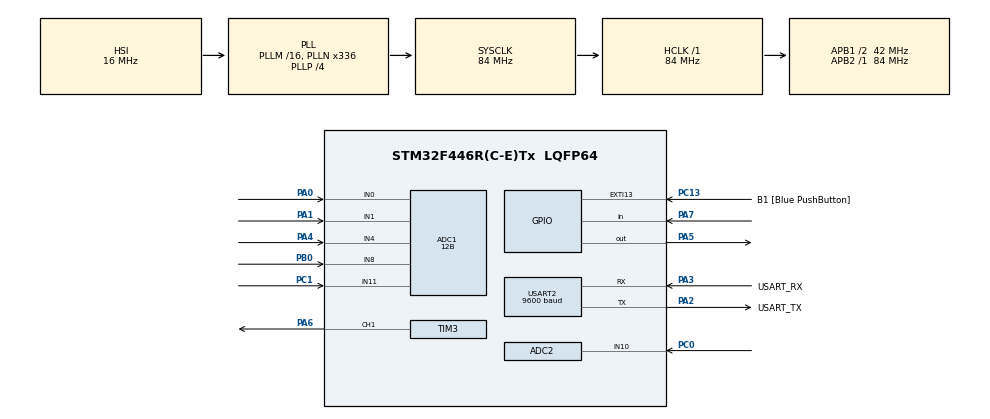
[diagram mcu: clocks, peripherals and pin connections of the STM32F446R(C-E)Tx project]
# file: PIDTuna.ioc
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ADC1.Channel-0\#ChannelRegularConversion=ADC_CHANNEL_0
ADC1.Channel-1\#ChannelRegularConversion=ADC_CHANNEL_1
ADC1.Channel-2\#ChannelRegularConversion=ADC_CHANNEL_4
ADC1.ContinuousConvMode=DISABLE
ADC1.DMAContinuousRequests=ENABLE
ADC1.EOCSelection=ADC_EOC_SEQ_CONV
ADC1.ExternalTrigConv=ADC_EXTERNALTRIGCONV_T2_TRGO
ADC1.InjNumberOfConversion=0
ADC1.NbrOfConversion=3
ADC1.NbrOfConversionFlag=1
ADC1.Rank-0\#ChannelRegularConversion=1
ADC1.Rank-1\#ChannelRegularConversion=2
ADC1.Rank-2\#ChannelRegularConversion=3
ADC1.Resolution=ADC_RESOLUTION_12B
ADC1.SamplingTime-0\#ChannelRegularConversion=ADC_SAMPLETIME_56CYCLES
ADC1.SamplingTime-1\#ChannelRegularConversion=ADC_SAMPLETIME_56CYCLES
ADC1.SamplingTime-2\#ChannelRegularConversion=ADC_SAMPLETIME_56CYCLES
ADC1.ScanConvMode=ENABLE
ADC1.master=1
ADC2.Channel-13\#ChannelRegularConversion=ADC_CHANNEL_10
ADC2.ContinuousConvMode=ENABLE
ADC2.EOCSelection=ADC_EOC_SEQ_CONV
ADC2.ExternalTrigConv=ADC_SOFTWARE_START
ADC2.NbrOfConversionFlag=1
ADC2.Rank-13\#ChannelRegularConversion=1
ADC2.SamplingTime-13\#ChannelRegularConversion=ADC_SAMPLETIME_3CYCLES
Dma.ADC1.0.Direction=DMA_PERIPH_TO_MEMORY
Dma.ADC1.0.FIFOMode=DMA_FIFOMODE_DISABLE
Dma.ADC1.0.Instance=DMA2_Stream0
Dma.ADC1.0.MemDataAlignment=DMA_MDATAALIGN_WORD
Dma.ADC1.0.MemInc=DMA_MINC_ENABLE
Dma.ADC1.0.Mode=DMA_CIRCULAR
Dma.ADC1.0.PeriphDataAlignment=DMA_PDATAALIGN_WORD
Dma.ADC1.0.PeriphInc=DMA_PINC_DISABLE
Dma.ADC1.0.Priority=DMA_PRIORITY_HIGH
Dma.Request0=ADC1
FREERTOS.Tasks01=defaultTask,-3,128,StartDefaultTask,Default,NULL,Dynamic,NULL,NULL;ADCRead,0,128,ADCReadStart,Default,NULL,Dynamic,NULL,NULL;StartSwitch,0,128,StartStartSwitch,Default,NULL,Dynamic,NULL,NULL;PIDLoop,0,128,PIDLoopStart,Default,NULL,Dynamic,NULL,NULL
Mcu.Family=STM32F4
Mcu.Name=STM32F446R(C-E)Tx
Mcu.Package=LQFP64
NVIC.ADC_IRQn=true\:5\:0\:true\:false\:true\:true\:true\:true\:true
NVIC.DMA2_Stream0_IRQn=true\:5\:0\:false\:false\:true\:true\:false\:true\:true
NVIC.EXTI15_10_IRQn=true\:5\:0\:false\:false\:true\:true\:true\:true\:true
NVIC.PriorityGroup=NVIC_PRIORITYGROUP_4
NVIC.TIM1_UP_TIM10_IRQn=true\:15\:0\:false\:false\:true\:false\:false\:true\:true
NVIC.TimeBase=TIM1_UP_TIM10_IRQn
NVIC.TimeBaseIP=TIM1
PA0-WKUP.Signal=ADCx_IN0
PA1.Signal=ADCx_IN1
PA13.GPIO_Label=TMS
PA13.Mode=Trace_Asynchronous_SW
PA13.Signal=SYS_JTMS-SWDIO
PA14.GPIO_Label=TCK
PA14.Mode=Trace_Asynchronous_SW
PA14.Signal=SYS_JTCK-SWCLK
PA2.GPIO_Label=USART_TX
PA2.Mode=Asynchronous
PA2.Signal=USART2_TX
PA3.GPIO_Label=USART_RX
PA3.Mode=Asynchronous
PA3.Signal=USART2_RX
PA4.Signal=ADCx_IN4
PA5.Signal=GPIO_Output
PA6.Signal=S_TIM3_CH1
PA7.GPIO_PuPd=GPIO_PULLUP
PA7.Signal=GPIO_Input
PB0.Signal=ADCx_IN8
PB3.GPIO_Label=SWO
PB3.Mode=Trace_Asynchronous_SW
PB3.Signal=SYS_JTDO-SWO
PC0.Signal=ADCx_IN10
PC1.Signal=ADCx_IN11
PC13.GPIO_Label=B1 [Blue PushButton]
PC13.GPIO_ModeDefaultEXTI=GPIO_MODE_IT_FALLING
PC13.Signal=GPXTI13
PC14-OSC32_IN.Mode=LSE-External-Oscillator
PC14-OSC32_IN.Signal=RCC_OSC32_IN
PC15-OSC32_OUT.Mode=LSE-External-Oscillator
PC15-OSC32_OUT.Signal=RCC_OSC32_OUT
PH0-OSC_IN.Mode=HSE-External-Oscillator
PH0-OSC_IN.Signal=RCC_OSC_IN
PH1-OSC_OUT.Mode=HSE-External-Oscillator
PH1-OSC_OUT.Signal=RCC_OSC_OUT
ProjectManager.HeapSize=0x200
ProjectManager.StackSize=0x400
ProjectManager.TargetToolchain=STM32CubeIDE
RCC.48MHZClocksFreq_Value=84000000
RCC.AHBFreq_Value=84000000
RCC.APB1CLKDivider=RCC_HCLK_DIV2
RCC.APB1Freq_Value=42000000
RCC.APB1TimFreq_Value=84000000
RCC.APB2Freq_Value=84000000
RCC.APB2TimFreq_Value=84000000
RCC.CortexFreq_Value=84000000
RCC.FLatency-AdvancedSettings=FLASH_LATENCY_2
RCC.HCLKFreq_Value=84000000
RCC.HSE_VALUE=8000000
RCC.HSI_VALUE=16000000
RCC.PLLN=336
RCC.PLLP=RCC_PLLP_DIV4
RCC.SYSCLKFreq_VALUE=84000000
RCC.SYSCLKSource=RCC_SYSCLKSOURCE_PLLCLK
RCC.USBFreq_Value=168000000
RCC.VCOOutputFreq_Value=336000000
SH.ADCx_IN0.0=ADC1_IN0,IN0
SH.ADCx_IN1.0=ADC1_IN1,IN1
SH.ADCx_IN10.0=ADC2_IN10,IN10
SH.ADCx_IN11.0=ADC1_IN11,IN11
SH.ADCx_IN4.0=ADC1_IN4,IN4
SH.ADCx_IN8.0=ADC1_IN8,IN8
SH.S_TIM3_CH1.0=TIM3_CH1,PWM Generation1 CH1
TIM2.AutoReloadPreload=TIM_AUTORELOAD_PRELOAD_ENABLE
TIM2.ClockDivision=TIM_CLOCKDIVISION_DIV1
TIM2.Period=1000
TIM2.Prescaler=8400-1
TIM2.TIM_MasterOutputTrigger=TIM_TRGO_UPDATE
TIM3.Channel-PWM\ Generation1\ CH1=TIM_CHANNEL_1
TIM3.Period=8400-1
TIM3.Prescaler=200-1
USART2.BaudRate=9600
USART2.VirtualMode=VM_ASYNC
VP_FREERTOS_VS_CMSIS_V1.Mode=CMSIS_V1
VP_SYS_VS_tim1.Mode=TIM1
VP_TIM2_VS_ClockSourceINT.Mode=Internal
VP_TIM3_VS_ClockSourceINT.Mode=Internal
board=NUCLEO-F446RE

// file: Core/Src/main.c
/* USER CODE BEGIN Header */
/**
  ******************************************************************************
  * @file           : main.c
  * @brief          : Main program body
  ******************************************************************************
  * @attention
  *
  * Copyright (c) 2025 STMicroelectronics.
  * All rights reserved.
  *
  * This software is licensed under terms that can be found in the LICENSE file
  * in the root directory of this software component.
  * If no LICENSE file comes with this software, it is provided AS-IS.
  *
  ******************************************************************************
  */
/* USER CODE END Header */
#include "main.h"
#include "cmsis_os.h"

/* USER CODE BEGIN Includes */

#include "FreeRTOS.h"
#include "task.h"
#include "timers.h"
#include "queue.h"
#include "semphr.h"
#include "event_groups.h"

#include "string.h"
#include "stdio.h"
/* USER CODE END Includes */

ADC_HandleTypeDef hadc1;
ADC_HandleTypeDef hadc2;
DMA_HandleTypeDef hdma_adc1;

TIM_HandleTypeDef htim2;
TIM_HandleTypeDef htim3;

UART_HandleTypeDef huart2;

osThreadId defaultTaskHandle;
osThreadId ADCReadHandle;
osThreadId StartSwitchHandle;
osThreadId PIDLoopHandle;
/* USER CODE BEGIN PV */

double Kp;
double Ki;
double Kd;
char buff[100];

int32_t output = 0;
int32_t setPoint = 75;

uint32_t adc_input[3];

uint8_t switchFlag = 0;

/* USER CODE END PV */

void SystemClock_Config(void);
static void MX_GPIO_Init(void);
static void MX_DMA_Init(void);
static void MX_USART2_UART_Init(void);
static void MX_ADC1_Init(void);
static void MX_TIM2_Init(void);
static void MX_ADC2_Init(void);
static void MX_TIM3_Init(void);
void StartDefaultTask(void const * argument);
void ADCReadStart(void const * argument);
void StartStartSwitch(void const * argument);
void PIDLoopStart(void const * argument);

/* USER CODE BEGIN PFP */

double map(uint16_t input, uint16_t min, uint32_t max, double map_min, double map_max) {
	  double percentage = (input - min)/(double)(max - min);
	  double result = percentage*(map_max - map_min) + map_min;
	  return result;
}

uint32_t read_servo_feedback(void) {
    HAL_ADC_Start(&hadc2);
    HAL_ADC_PollForConversion(&hadc2, HAL_MAX_DELAY);
    uint32_t adc_val = HAL_ADC_GetValue(&hadc2);
    HAL_ADC_Stop(&hadc2);
    return adc_val;
}

uint16_t adc_to_angle(uint32_t adc_val, uint32_t min_adc, uint32_t max_adc) {
    return ((adc_val - min_adc) * 120.0f) / (max_adc - min_adc);
}

static inline uint32_t us_to_counts(uint32_t us) {
    // 420 kHz timer: counts = us * 0.42
    return (uint32_t)((us * 420000U) / 1000000U);
}

void set_servo_angle(TIM_HandleTypeDef *htim, uint32_t channel, double angle) {
    if (angle < 0.0f) angle = 0.0f;
    if (angle > 180.0f) angle = 180.0f;

    //0.9–2.0 ms pulse range
    const uint32_t min_us = 905;
    const uint32_t max_us = 2020;
    double pulse_us = min_us + (angle / 180.0f) * (max_us - min_us);
    uint32_t ccr = us_to_counts((uint32_t)pulse_us);

    __HAL_TIM_SET_COMPARE(htim, channel, ccr);
}
/* USER CODE END PFP */

/* USER CODE BEGIN 0 */
SemaphoreHandle_t SimpleMutex;
void UART_SEND(UART_HandleTypeDef *huart, char buffer[]) {
	xSemaphoreTake(SimpleMutex, portMAX_DELAY);
	HAL_UART_Transmit(huart, (uint8_t*) buffer, strlen(buffer), HAL_MAX_DELAY);
	xSemaphoreGive(SimpleMutex);
}
/* USER CODE END 0 */

int main(void)
{

  /* MCU Configuration--------------------------------------------------------*/

  /* Reset of all peripherals, Initializes the Flash interface and the Systick. */
  HAL_Init();

  /* Configure the system clock */
  SystemClock_Config();

  /* Initialize all configured peripherals */
  MX_GPIO_Init();
  MX_DMA_Init();
  MX_USART2_UART_Init();
  MX_ADC1_Init();
  MX_TIM2_Init();
  MX_ADC2_Init();
  MX_TIM3_Init();
  /* USER CODE BEGIN 2 */

  SimpleMutex = xSemaphoreCreateMutex();

  if(SimpleMutex != NULL) {
	 char *str = "Mutex Created\r\n\n";
	 HAL_UART_Transmit(&huart2, (uint8_t *)str, strlen(str), 1000);
 }
  HAL_TIM_PWM_Start(&htim3, TIM_CHANNEL_1);
  HAL_ADC_Start_DMA(&hadc1, (uint32_t*)adc_input, 3);
  HAL_TIM_Base_Start(&htim2);

  xSemaphoreGive(SimpleMutex);

  /* USER CODE END 2 */

  /* Create the thread(s) */
  /* definition and creation of defaultTask */
  osThreadDef(defaultTask, StartDefaultTask, osPriorityIdle, 0, 128);
  defaultTaskHandle = osThreadCreate(osThread(defaultTask), NULL);

  /* definition and creation of ADCRead */
  osThreadDef(ADCRead, ADCReadStart, osPriorityNormal, 0, 128);
  ADCReadHandle = osThreadCreate(osThread(ADCRead), NULL);

  /* definition and creation of StartSwitch */
  osThreadDef(StartSwitch, StartStartSwitch, osPriorityNormal, 0, 128);
  StartSwitchHandle = osThreadCreate(osThread(StartSwitch), NULL);

  /* definition and creation of PIDLoop */
  osThreadDef(PIDLoop, PIDLoopStart, osPriorityNormal, 0, 128);
  PIDLoopHandle = osThreadCreate(osThread(PIDLoop), NULL);

  /* Start scheduler */
  osKernelStart();

  /* We should never get here as control is now taken by the scheduler */

  /* Infinite loop */
  while (1)
  {

  }
}

void SystemClock_Config(void)
{
  RCC_OscInitTypeDef RCC_OscInitStruct = {0};
  RCC_ClkInitTypeDef RCC_ClkInitStruct = {0};

  /** Configure the main internal regulator output voltage
  */
  __HAL_RCC_PWR_CLK_ENABLE();
  __HAL_PWR_VOLTAGESCALING_CONFIG(PWR_REGULATOR_VOLTAGE_SCALE3);

  /** Initializes the RCC Oscillators according to the specified parameters
  * in the RCC_OscInitTypeDef structure.
  */
  RCC_OscInitStruct.OscillatorType = RCC_OSCILLATORTYPE_HSI;
  RCC_OscInitStruct.HSIState = RCC_HSI_ON;
  RCC_OscInitStruct.HSICalibrationValue = RCC_HSICALIBRATION_DEFAULT;
  RCC_OscInitStruct.PLL.PLLState = RCC_PLL_ON;
  RCC_OscInitStruct.PLL.PLLSource = RCC_PLLSOURCE_HSI;
  RCC_OscInitStruct.PLL.PLLM = 16;
  RCC_OscInitStruct.PLL.PLLN = 336;
  RCC_OscInitStruct.PLL.PLLP = RCC_PLLP_DIV4;
  RCC_OscInitStruct.PLL.PLLQ = 2;
  RCC_OscInitStruct.PLL.PLLR = 2;
  if (HAL_RCC_OscConfig(&RCC_OscInitStruct) != HAL_OK)
  {
    Error_Handler();
  }

  /** Initializes the CPU, AHB and APB buses clocks
  */
  RCC_ClkInitStruct.ClockType = RCC_CLOCKTYPE_HCLK|RCC_CLOCKTYPE_SYSCLK
                              |RCC_CLOCKTYPE_PCLK1|RCC_CLOCKTYPE_PCLK2;
  RCC_ClkInitStruct.SYSCLKSource = RCC_SYSCLKSOURCE_PLLCLK;
  RCC_ClkInitStruct.AHBCLKDivider = RCC_SYSCLK_DIV1;
  RCC_ClkInitStruct.APB1CLKDivider = RCC_HCLK_DIV2;
  RCC_ClkInitStruct.APB2CLKDivider = RCC_HCLK_DIV1;

  if (HAL_RCC_ClockConfig(&RCC_ClkInitStruct, FLASH_LATENCY_2) != HAL_OK)
  {
    Error_Handler();
  }
}

static void MX_ADC1_Init(void)
{

  ADC_ChannelConfTypeDef sConfig = {0};

  /** Configure the global features of the ADC (Clock, Resolution, Data Alignment and number of conversion)
  */
  hadc1.Instance = ADC1;
  hadc1.Init.ClockPrescaler = ADC_CLOCK_SYNC_PCLK_DIV4;
  hadc1.Init.Resolution = ADC_RESOLUTION_12B;
  hadc1.Init.ScanConvMode = ENABLE;
  hadc1.Init.ContinuousConvMode = DISABLE;
  hadc1.Init.DiscontinuousConvMode = DISABLE;
  hadc1.Init.ExternalTrigConvEdge = ADC_EXTERNALTRIGCONVEDGE_RISING;
  hadc1.Init.ExternalTrigConv = ADC_EXTERNALTRIGCONV_T2_TRGO;
  hadc1.Init.DataAlign = ADC_DATAALIGN_RIGHT;
  hadc1.Init.NbrOfConversion = 3;
  hadc1.Init.DMAContinuousRequests = ENABLE;
  hadc1.Init.EOCSelection = ADC_EOC_SEQ_CONV;
  if (HAL_ADC_Init(&hadc1) != HAL_OK)
  {
    Error_Handler();
  }

  /** Configure for the selected ADC regular channel its corresponding rank in the sequencer and its sample time.
  */
  sConfig.Channel = ADC_CHANNEL_0;
  sConfig.Rank = 1;
  sConfig.SamplingTime = ADC_SAMPLETIME_56CYCLES;
  if (HAL_ADC_ConfigChannel(&hadc1, &sConfig) != HAL_OK)
  {
    Error_Handler();
  }

  /** Configure for the selected ADC regular channel its corresponding rank in the sequencer and its sample time.
  */
  sConfig.Channel = ADC_CHANNEL_1;
  sConfig.Rank = 2;
  if (HAL_ADC_ConfigChannel(&hadc1, &sConfig) != HAL_OK)
  {
    Error_Handler();
  }

  /** Configure for the selected ADC regular channel its corresponding rank in the sequencer and its sample time.
  */
  sConfig.Channel = ADC_CHANNEL_4;
  sConfig.Rank = 3;
  if (HAL_ADC_ConfigChannel(&hadc1, &sConfig) != HAL_OK)
  {
    Error_Handler();
  }

}

static void MX_ADC2_Init(void)
{

  ADC_ChannelConfTypeDef sConfig = {0};

  /** Configure the global features of the ADC (Clock, Resolution, Data Alignment and number of conversion)
  */
  hadc2.Instance = ADC2;
  hadc2.Init.ClockPrescaler = ADC_CLOCK_SYNC_PCLK_DIV4;
  hadc2.Init.Resolution = ADC_RESOLUTION_12B;
  hadc2.Init.ScanConvMode = DISABLE;
  hadc2.Init.ContinuousConvMode = ENABLE;
  hadc2.Init.DiscontinuousConvMode = DISABLE;
  hadc2.Init.ExternalTrigConvEdge = ADC_EXTERNALTRIGCONVEDGE_NONE;
  hadc2.Init.ExternalTrigConv = ADC_SOFTWARE_START;
  hadc2.Init.DataAlign = ADC_DATAALIGN_RIGHT;
  hadc2.Init.NbrOfConversion = 1;
  hadc2.Init.DMAContinuousRequests = DISABLE;
  hadc2.Init.EOCSelection = ADC_EOC_SEQ_CONV;
  if (HAL_ADC_Init(&hadc2) != HAL_OK)
  {
    Error_Handler();
  }

  /** Configure for the selected ADC regular channel its corresponding rank in the sequencer and its sample time.
  */
  sConfig.Channel = ADC_CHANNEL_10;
  sConfig.Rank = 1;
  sConfig.SamplingTime = ADC_SAMPLETIME_3CYCLES;
  if (HAL_ADC_ConfigChannel(&hadc2, &sConfig) != HAL_OK)
  {
    Error_Handler();
  }

}

static void MX_TIM2_Init(void)
{

  TIM_ClockConfigTypeDef sClockSourceConfig = {0};
  TIM_MasterConfigTypeDef sMasterConfig = {0};

  htim2.Instance = TIM2;
  htim2.Init.Prescaler = 8400-1;
  htim2.Init.CounterMode = TIM_COUNTERMODE_UP;
  htim2.Init.Period = 1000;
  htim2.Init.ClockDivision = TIM_CLOCKDIVISION_DIV1;
  htim2.Init.AutoReloadPreload = TIM_AUTORELOAD_PRELOAD_ENABLE;
  if (HAL_TIM_Base_Init(&htim2) != HAL_OK)
  {
    Error_Handler();
  }
  sClockSourceConfig.ClockSource = TIM_CLOCKSOURCE_INTERNAL;
  if (HAL_TIM_ConfigClockSource(&htim2, &sClockSourceConfig) != HAL_OK)
  {
    Error_Handler();
  }
  sMasterConfig.MasterOutputTrigger = TIM_TRGO_UPDATE;
  sMasterConfig.MasterSlaveMode = TIM_MASTERSLAVEMODE_DISABLE;
  if (HAL_TIMEx_MasterConfigSynchronization(&htim2, &sMasterConfig) != HAL_OK)
  {
    Error_Handler();
  }

}

static void MX_TIM3_Init(void)
{

  TIM_ClockConfigTypeDef sClockSourceConfig = {0};
  TIM_MasterConfigTypeDef sMasterConfig = {0};
  TIM_OC_InitTypeDef sConfigOC = {0};

  htim3.Instance = TIM3;
  htim3.Init.Prescaler = 200-1;
  htim3.Init.CounterMode = TIM_COUNTERMODE_UP;
  htim3.Init.Period = 8400-1;
  htim3.Init.ClockDivision = TIM_CLOCKDIVISION_DIV1;
  htim3.Init.AutoReloadPreload = TIM_AUTORELOAD_PRELOAD_DISABLE;
  if (HAL_TIM_Base_Init(&htim3) != HAL_OK)
  {
    Error_Handler();
  }
  sClockSourceConfig.ClockSource = TIM_CLOCKSOURCE_INTERNAL;
  if (HAL_TIM_ConfigClockSource(&htim3, &sClockSourceConfig) != HAL_OK)
  {
    Error_Handler();
  }
  if (HAL_TIM_PWM_Init(&htim3) != HAL_OK)
  {
    Error_Handler();
  }
  sMasterConfig.MasterOutputTrigger = TIM_TRGO_RESET;
  sMasterConfig.MasterSlaveMode = TIM_MASTERSLAVEMODE_DISABLE;
  if (HAL_TIMEx_MasterConfigSynchronization(&htim3, &sMasterConfig) != HAL_OK)
  {
    Error_Handler();
  }
  sConfigOC.OCMode = TIM_OCMODE_PWM1;
  sConfigOC.Pulse = 0;
  sConfigOC.OCPolarity = TIM_OCPOLARITY_HIGH;
  sConfigOC.OCFastMode = TIM_OCFAST_DISABLE;
  if (HAL_TIM_PWM_ConfigChannel(&htim3, &sConfigOC, TIM_CHANNEL_1) != HAL_OK)
  {
    Error_Handler();
  }
  HAL_TIM_MspPostInit(&htim3);

}

static void MX_USART2_UART_Init(void)
{

  huart2.Instance = USART2;
  huart2.Init.BaudRate = 9600;
  huart2.Init.WordLength = UART_WORDLENGTH_8B;
  huart2.Init.StopBits = UART_STOPBITS_1;
  huart2.Init.Parity = UART_PARITY_NONE;
  huart2.Init.Mode = UART_MODE_TX_RX;
  huart2.Init.HwFlowCtl = UART_HWCONTROL_NONE;
  huart2.Init.OverSampling = UART_OVERSAMPLING_16;
  if (HAL_UART_Init(&huart2) != HAL_OK)
  {
    Error_Handler();
  }

}

static void MX_DMA_Init(void)
{

  /* DMA controller clock enable */
  __HAL_RCC_DMA2_CLK_ENABLE();

  /* DMA interrupt init */
  /* DMA2_Stream0_IRQn interrupt configuration */
  HAL_NVIC_SetPriority(DMA2_Stream0_IRQn, 5, 0);
  HAL_NVIC_EnableIRQ(DMA2_Stream0_IRQn);

}

static void MX_GPIO_Init(void)
{
  GPIO_InitTypeDef GPIO_InitStruct = {0};

  /* GPIO Ports Clock Enable */
  __HAL_RCC_GPIOC_CLK_ENABLE();
  __HAL_RCC_GPIOH_CLK_ENABLE();
  __HAL_RCC_GPIOA_CLK_ENABLE();
  __HAL_RCC_GPIOB_CLK_ENABLE();

  /*Configure GPIO pin Output Level */
  HAL_GPIO_WritePin(GPIOA, GPIO_PIN_5, GPIO_PIN_RESET);

  /*Configure GPIO pin : B1_Pin */
  GPIO_InitStruct.Pin = B1_Pin;
  GPIO_InitStruct.Mode = GPIO_MODE_IT_FALLING;
  GPIO_InitStruct.Pull = GPIO_NOPULL;
  HAL_GPIO_Init(B1_GPIO_Port, &GPIO_InitStruct);

  /*Configure GPIO pin : PA5 */
  GPIO_InitStruct.Pin = GPIO_PIN_5;
  GPIO_InitStruct.Mode = GPIO_MODE_OUTPUT_PP;
  GPIO_InitStruct.Pull = GPIO_NOPULL;
  GPIO_InitStruct.Speed = GPIO_SPEED_FREQ_LOW;
  HAL_GPIO_Init(GPIOA, &GPIO_InitStruct);

  /*Configure GPIO pin : PA7 */
  GPIO_InitStruct.Pin = GPIO_PIN_7;
  GPIO_InitStruct.Mode = GPIO_MODE_INPUT;
  GPIO_InitStruct.Pull = GPIO_PULLUP;
  HAL_GPIO_Init(GPIOA, &GPIO_InitStruct);

  /* EXTI interrupt init*/
  HAL_NVIC_SetPriority(EXTI15_10_IRQn, 5, 0);
  HAL_NVIC_EnableIRQ(EXTI15_10_IRQn);

}

/* USER CODE BEGIN 4 */

void HAL_ADC_ConvCpltCallback(ADC_HandleTypeDef* hadc)
{

	// Custom logic for ADC1 conversion completion
	if(switchFlag == 0) {
	  Kp = map((uint16_t)adc_input[0], 0, 4095, 0, 4);
	  Ki = map((uint16_t)adc_input[1], 0, 4095, 0, 4);
	  Kd = map((uint16_t)adc_input[2], 0, 4095, 0, 5);
	}
}
/* USER CODE END 4 */

void StartDefaultTask(void const * argument)
{
  /* USER CODE BEGIN 5 */
  /* Infinite loop */
  for(;;)
  {
	 // UART_SEND(&huart2, "MEOW");
	  osDelay(1);
  }
  /* USER CODE END 5 */
}

void ADCReadStart(void const * argument)
{
  /* USER CODE BEGIN ADCReadStart */

  /* Infinite loop */
  for(;;)
  {

	  if(switchFlag == 0) {
	  sprintf(buff, "Kp: %.3f  Ki: %.3f Kd: %.3f \r\n", Kp, Ki, Kd);
	  UART_SEND(&huart2, buff);
	  set_servo_angle(&htim3, TIM_CHANNEL_1, 0);

    } else {
      //sprintf(buff, "TESTING Kp: %d  Ki: %d  Kd: %d \r\n", Kp, Ki, Kd);
      //UART_SEND(&huart2, buff);
    }
	 vTaskDelay(500);
  }
  /* USER CODE END ADCReadStart */
}

void StartStartSwitch(void const * argument)
{
  /* USER CODE BEGIN StartStartSwitch */

  /* Infinite loop */
  for(;;)
  {

       if(HAL_GPIO_ReadPin(GPIOA, GPIO_PIN_7) == GPIO_PIN_RESET) {
         // Switch closed → PC1 low
         HAL_GPIO_WritePin(GPIOA, GPIO_PIN_5, GPIO_PIN_SET);   // LED ON
         switchFlag = 1;  // ON
       } else {
         // Switch open → PC1 high
         HAL_GPIO_WritePin(GPIOA, GPIO_PIN_5, GPIO_PIN_RESET); // LED OFF
         switchFlag = 0;  // OFF

       }

  }
     vTaskDelay(1); // debounce / CPU relief
  /* USER CODE END StartStartSwitch */
}

void PIDLoopStart(void const * argument)
{
  /* USER CODE BEGIN PIDLoopStart */

	int32_t currentTime = 0;
	int32_t analogFeedback = 0;

	int32_t Proportional = 0;
	int32_t Integral = 0;
	int32_t Derivative = 0;

	int32_t prevTime = 0;

	int32_t dt;
	int32_t currentValue = 0;
	int32_t error = 0;
	int32_t previous = 0;

	//uint32_t feedBack = 0;
	//uint32_t angle = 0;
  /* Infinite loop */
  for(;;)
  {

/*
	  if(switchFlag == 1) {
		  set_servo_angle(&htim3, TIM_CHANNEL_1, 0);
		  vTaskDelay(2000);
		  feedBack = read_servo_feedback();
		  angle = adc_to_angle(feedBack, 205, 1263);
		  sprintf(buff, "Angle: %d Feedback: %d\r\n", angle, feedBack);
		  UART_SEND(&huart2, buff);

		  set_servo_angle(&htim3, TIM_CHANNEL_1, 120);
		  vTaskDelay(4000);
		  feedBack = read_servo_feedback();
		  angle = adc_to_angle(feedBack, 205, 1263);
		  sprintf(buff, "Angle: %d Feedback: %d\r\n", angle, feedBack);
		  UART_SEND(&huart2, buff);

	  }

*/

	 if(switchFlag == 1) {
	  currentTime = HAL_GetTick();
	  dt = (currentTime - prevTime);
	  prevTime = currentTime;

	  analogFeedback = read_servo_feedback();
	  currentValue = adc_to_angle(analogFeedback, 120, 1263);

	  if(currentValue > 180) {
		  currentValue = 0;
	  }
	  error = setPoint - currentValue;

	  if(dt > 100) {
		  dt = 0;
	  }

	  Proportional = error;

	  Integral += error * (dt * 0.001);
	  Derivative = (error - previous) / dt;
	  previous = error;

	 output = (Kp * Proportional) + (Ki * Integral) + (Kd * Derivative) + setPoint;

	 sprintf(buff, "OUTPUT: %ld ERROR: %ld  currentValue: %ld Integral: %ld DT: %ld\r\n", output, error, currentValue, Integral, dt );
	 UART_SEND(&huart2, buff);

     set_servo_angle(&htim3, TIM_CHANNEL_1, output);

	 }

	 vTaskDelay(10);
  }

  /* USER CODE END PIDLoopStart */
}

void HAL_TIM_PeriodElapsedCallback(TIM_HandleTypeDef *htim)
{
  if (htim->Instance == TIM1)
  {
    HAL_IncTick();
  }
}

void Error_Handler(void)
{
  __disable_irq();
  while (1)
  {
  }
}
